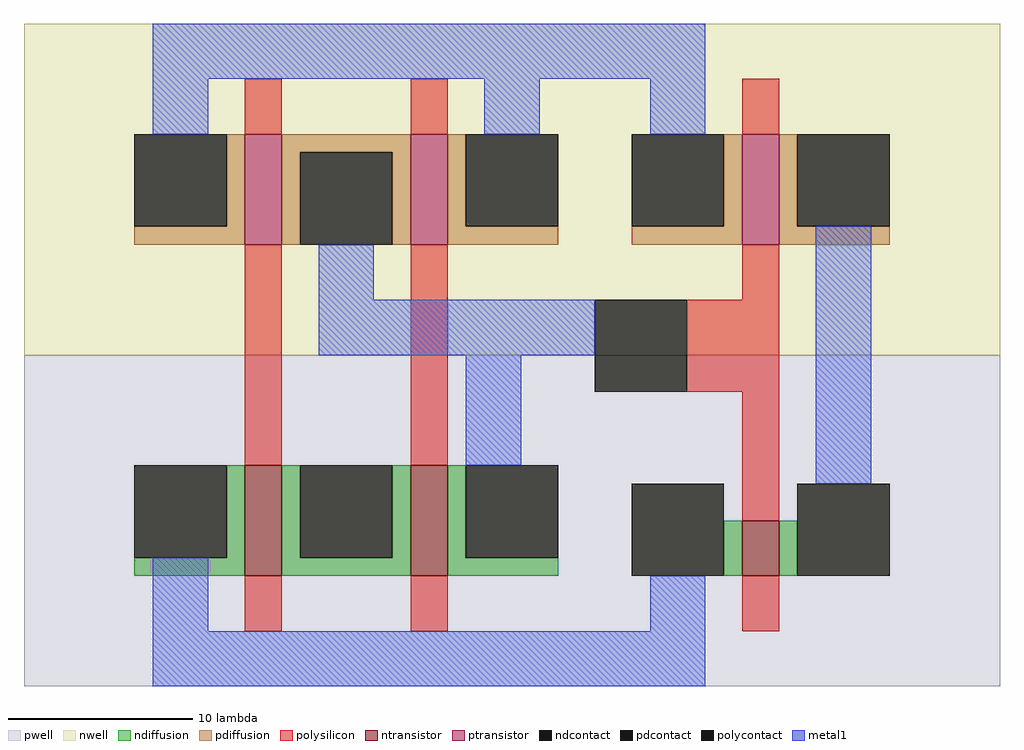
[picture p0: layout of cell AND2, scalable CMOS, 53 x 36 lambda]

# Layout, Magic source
magic
tech scmos
<< nwell >>
rect -7 8 46 26
<< pwell >>
rect -7 -10 46 8
<< ntransistor >>
rect 5 -4 7 2
rect 14 -4 16 2
rect 32 -4 34 -1
<< ptransistor >>
rect 5 14 7 20
rect 14 14 16 20
rect 32 14 34 20
<< ndiffusion >>
rect 4 -3 5 2
rect -1 -4 5 -3
rect 7 -3 8 2
rect 13 -3 14 2
rect 7 -4 14 -3
rect 16 -3 17 2
rect 16 -4 22 -3
rect 31 -4 32 -1
rect 34 -4 35 -1
<< pdiffusion >>
rect 4 15 5 20
rect -1 14 5 15
rect 7 19 14 20
rect 7 14 8 19
rect 13 14 14 19
rect 16 15 17 20
rect 16 14 22 15
rect 31 15 32 20
rect 26 14 32 15
rect 34 15 35 20
rect 34 14 40 15
<< ndcontact >>
rect -1 -3 4 2
rect 8 -3 13 2
rect 17 -3 22 2
rect 26 -4 31 1
rect 35 -4 40 1
<< pdcontact >>
rect -1 15 4 20
rect 8 14 13 19
rect 17 15 22 20
rect 26 15 31 20
rect 35 15 40 20
<< polysilicon >>
rect 5 20 7 23
rect 14 20 16 23
rect 32 20 34 23
rect 5 2 7 14
rect 14 2 16 14
rect 32 11 34 14
rect 29 6 34 11
rect 32 -1 34 6
rect 5 -7 7 -4
rect 14 -7 16 -4
rect 32 -7 34 -4
<< polycontact >>
rect 24 6 29 11
<< metal1 >>
rect 0 23 30 26
rect 0 20 3 23
rect 18 20 21 23
rect 27 20 30 23
rect 9 11 12 14
rect 9 8 24 11
rect 17 2 20 8
rect 36 1 39 15
rect 0 -7 3 -3
rect 27 -7 30 -4
rect 0 -10 30 -7
<< end >>
